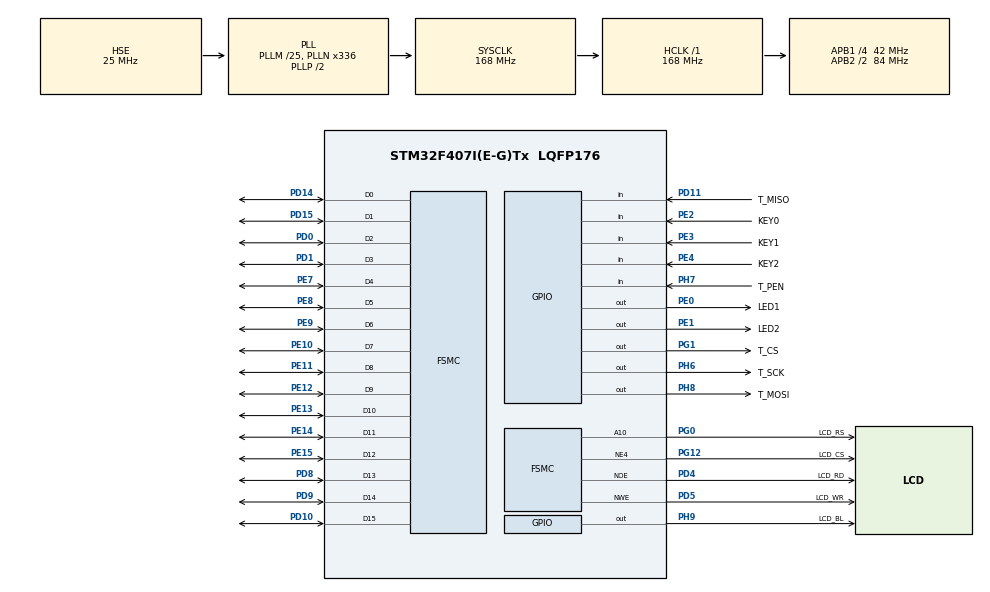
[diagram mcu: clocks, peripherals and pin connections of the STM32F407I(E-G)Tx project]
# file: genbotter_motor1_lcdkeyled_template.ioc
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FSMC.AccessMode4=FSMC_ACCESS_MODE_A
FSMC.AddressSetupTime4=2
FSMC.BusTurnAroundDuration4=0
FSMC.DataSetupTime4=5
FSMC.ExtendedAccessMode4=FSMC_ACCESS_MODE_A
FSMC.ExtendedAddressSetupTime4=0
FSMC.ExtendedBusTurnAroundDuration4=0
FSMC.ExtendedDataSetupTime4=255
FSMC.ExtendedMode4=FSMC_EXTENDED_MODE_ENABLE
FSMC.MemoryType4=FSMC_MEMORY_TYPE_SRAM
FSMC.NSBank4=FSMC_NORSRAM_BANK4
FSMC.WriteOperation4=FSMC_WRITE_OPERATION_ENABLE
Mcu.Family=STM32F4
Mcu.Name=STM32F407I(E-G)Tx
Mcu.Package=LQFP176
NVIC.PriorityGroup=NVIC_PRIORITYGROUP_4
PA13.Mode=Serial_Wire
PA13.Signal=SYS_JTMS-SWDIO
PA14.Mode=Serial_Wire
PA14.Signal=SYS_JTCK-SWCLK
PC14-OSC32_IN.Mode=LSE-External-Oscillator
PC14-OSC32_IN.Signal=RCC_OSC32_IN
PC15-OSC32_OUT.Mode=LSE-External-Oscillator
PC15-OSC32_OUT.Signal=RCC_OSC32_OUT
PD0.GPIO_PuPd=GPIO_PULLUP
PD0.Signal=FSMC_D2_DA2
PD1.GPIO_PuPd=GPIO_PULLUP
PD1.Signal=FSMC_D3_DA3
PD10.GPIO_PuPd=GPIO_PULLUP
PD10.Signal=FSMC_D15_DA15
PD11.GPIO_Label=T_MISO
PD11.Signal=GPIO_Input
PD14.GPIO_PuPd=GPIO_PULLUP
PD14.Signal=FSMC_D0_DA0
PD15.GPIO_PuPd=GPIO_PULLUP
PD15.Signal=FSMC_D1_DA1
PD4.GPIO_Label=LCD_RD
PD4.GPIO_PuPd=GPIO_PULLUP
PD4.Signal=FSMC_NOE
PD5.GPIO_Label=LCD_WR
PD5.GPIO_PuPd=GPIO_PULLUP
PD5.Signal=FSMC_NWE
PD8.GPIO_PuPd=GPIO_PULLUP
PD8.Signal=FSMC_D13_DA13
PD9.GPIO_PuPd=GPIO_PULLUP
PD9.Signal=FSMC_D14_DA14
PE0.GPIO_Label=LED1
PE0.PinState=GPIO_PIN_SET
PE0.Signal=GPIO_Output
PE1.GPIO_Label=LED2
PE1.PinState=GPIO_PIN_SET
PE1.Signal=GPIO_Output
PE10.GPIO_PuPd=GPIO_PULLUP
PE10.Signal=FSMC_D7_DA7
PE11.GPIO_PuPd=GPIO_PULLUP
PE11.Signal=FSMC_D8_DA8
PE12.GPIO_PuPd=GPIO_PULLUP
PE12.Signal=FSMC_D9_DA9
PE13.GPIO_PuPd=GPIO_PULLUP
PE13.Signal=FSMC_D10_DA10
PE14.GPIO_PuPd=GPIO_PULLUP
PE14.Signal=FSMC_D11_DA11
PE15.GPIO_PuPd=GPIO_PULLUP
PE15.Signal=FSMC_D12_DA12
PE2.GPIO_Label=KEY0
PE2.GPIO_PuPd=GPIO_PULLUP
PE2.Signal=GPIO_Input
PE3.GPIO_Label=KEY1
PE3.GPIO_PuPd=GPIO_PULLUP
PE3.Signal=GPIO_Input
PE4.GPIO_Label=KEY2
PE4.GPIO_PuPd=GPIO_PULLUP
PE4.Signal=GPIO_Input
PE7.GPIO_PuPd=GPIO_PULLUP
PE7.Signal=FSMC_D4_DA4
PE8.GPIO_PuPd=GPIO_PULLUP
PE8.Signal=FSMC_D5_DA5
PE9.GPIO_PuPd=GPIO_PULLUP
PE9.Signal=FSMC_D6_DA6
PG0.GPIO_Label=LCD_RS
PG0.GPIO_PuPd=GPIO_PULLUP
PG0.Signal=FSMC_A10
PG1.GPIO_Label=T_CS
PG1.Signal=GPIO_Output
PG12.GPIO_Label=LCD_CS
PG12.GPIO_PuPd=GPIO_PULLUP
PG12.Mode=NorPsramChipSelect4_4
PG12.Signal=FSMC_NE4
PH0-OSC_IN.Mode=HSE-External-Oscillator
PH0-OSC_IN.Signal=RCC_OSC_IN
PH1-OSC_OUT.Mode=HSE-External-Oscillator
PH1-OSC_OUT.Signal=RCC_OSC_OUT
PH6.GPIO_Label=T_SCK
PH6.Signal=GPIO_Output
PH7.GPIO_Label=T_PEN
PH7.Signal=GPIO_Input
PH8.GPIO_Label=T_MOSI
PH8.Signal=GPIO_Output
PH9.GPIO_Label=LCD_BL
PH9.Signal=GPIO_Output
ProjectManager.HeapSize=0x200
ProjectManager.StackSize=0x400
ProjectManager.TargetToolchain=MDK-ARM V5.27
RCC.48MHZClocksFreq_Value=84000000
RCC.AHBFreq_Value=168000000
RCC.APB1CLKDivider=RCC_HCLK_DIV4
RCC.APB1Freq_Value=42000000
RCC.APB1TimFreq_Value=84000000
RCC.APB2CLKDivider=RCC_HCLK_DIV2
RCC.APB2Freq_Value=84000000
RCC.APB2TimFreq_Value=168000000
RCC.CortexFreq_Value=168000000
RCC.FLatency=FLASH_LATENCY_5
RCC.HCLKFreq_Value=168000000
RCC.HSE_VALUE=25000000
RCC.HSI_VALUE=16000000
RCC.PLLM=25
RCC.PLLN=336
RCC.PLLSourceVirtual=RCC_PLLSOURCE_HSE
RCC.SYSCLKFreq_VALUE=168000000
RCC.SYSCLKSource=RCC_SYSCLKSOURCE_PLLCLK
RCC.VCOOutputFreq_Value=336000000
SH.FSMC_A10.0=FSMC_A10,A10_4
SH.FSMC_D0_DA0.0=FSMC_D0,16b-d4
SH.FSMC_D10_DA10.0=FSMC_D10,16b-d4
SH.FSMC_D11_DA11.0=FSMC_D11,16b-d4
SH.FSMC_D12_DA12.0=FSMC_D12,16b-d4
SH.FSMC_D13_DA13.0=FSMC_D13,16b-d4
SH.FSMC_D14_DA14.0=FSMC_D14,16b-d4
SH.FSMC_D15_DA15.0=FSMC_D15,16b-d4
SH.FSMC_D1_DA1.0=FSMC_D1,16b-d4
SH.FSMC_D2_DA2.0=FSMC_D2,16b-d4
SH.FSMC_D3_DA3.0=FSMC_D3,16b-d4
SH.FSMC_D4_DA4.0=FSMC_D4,16b-d4
SH.FSMC_D5_DA5.0=FSMC_D5,16b-d4
SH.FSMC_D6_DA6.0=FSMC_D6,16b-d4
SH.FSMC_D7_DA7.0=FSMC_D7,16b-d4
SH.FSMC_D8_DA8.0=FSMC_D8,16b-d4
SH.FSMC_D9_DA9.0=FSMC_D9,16b-d4
SH.FSMC_NOE.0=FSMC_NOE,Lcd4
SH.FSMC_NWE.0=FSMC_NWE,Lcd4
board=custom

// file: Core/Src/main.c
/* USER CODE BEGIN Header */
/**
 ******************************************************************************
 * @file           : main.c
 * @brief          : Main program body
 ******************************************************************************
 * @attention
 *
 * Copyright (c) 2025 STMicroelectronics.
 * All rights reserved.
 *
 * This software is licensed under terms that can be found in the LICENSE file
 * in the root directory of this software component.
 * If no LICENSE file comes with this software, it is provided AS-IS.
 *
 ******************************************************************************
 */
/* USER CODE END Header */
#include "main.h"
#include "gpio.h"
#include "fsmc.h"

/* USER CODE BEGIN Includes */
#include "lcd.h"
#include "key_led.h"
/* USER CODE END Includes */

void SystemClock_Config(void);

int main(void)
{

  /* MCU Configuration--------------------------------------------------------*/

  /* Reset of all peripherals, Initializes the Flash interface and the Systick. */
  HAL_Init();

  /* Configure the system clock */
  SystemClock_Config();

  /* Initialize all configured peripherals */
  MX_GPIO_Init();
  MX_FSMC_Init();
  /* USER CODE BEGIN 2 */
  DWT_Init(); // 初始化DWT

  Key_Init();
  Led_Init();
  lcd_init();

  lcd_show_string(10, 50, 300, 32, 32, "GenBotter-Motor-1", RED);
  lcd_show_string(10, 85, 450, 24, 24, "Chap06_LCD_KEY_LED_TempPro", BLUE);
  /* USER CODE END 2 */

  /* Infinite loop */
  /* USER CODE BEGIN WHILE */
  KeyPressedID key_id = KEY_None;
  while (1)
  {
      key_id = Key_Scan();
      if(key_id == KEY0_Pressed){
          lcd_show_string(10, 115, 200, 24, 24, "key 0 pressed.", BLUE);
          Led_Toggle(LED1);
      }
      else if(key_id == KEY1_Pressed){
          lcd_show_string(10, 115, 200, 24, 24, "key 1 pressed.", BLUE);
          Led_Toggle(LED2);
      }
      else if(key_id == KEY2_Pressed){
          lcd_show_string(10, 115, 200, 24, 24, "key 2 pressed.", BLUE);
          Led_Toggle(LED1);
          Led_Toggle(LED2);
      }
    /* USER CODE END WHILE */

  }
}

void SystemClock_Config(void)
{
  RCC_OscInitTypeDef RCC_OscInitStruct = {0};
  RCC_ClkInitTypeDef RCC_ClkInitStruct = {0};

  /** Configure the main internal regulator output voltage
  */
  __HAL_RCC_PWR_CLK_ENABLE();
  __HAL_PWR_VOLTAGESCALING_CONFIG(PWR_REGULATOR_VOLTAGE_SCALE1);

  /** Initializes the RCC Oscillators according to the specified parameters
  * in the RCC_OscInitTypeDef structure.
  */
  RCC_OscInitStruct.OscillatorType = RCC_OSCILLATORTYPE_HSE;
  RCC_OscInitStruct.HSEState = RCC_HSE_ON;
  RCC_OscInitStruct.PLL.PLLState = RCC_PLL_ON;
  RCC_OscInitStruct.PLL.PLLSource = RCC_PLLSOURCE_HSE;
  RCC_OscInitStruct.PLL.PLLM = 25;
  RCC_OscInitStruct.PLL.PLLN = 336;
  RCC_OscInitStruct.PLL.PLLP = RCC_PLLP_DIV2;
  RCC_OscInitStruct.PLL.PLLQ = 4;
  if (HAL_RCC_OscConfig(&RCC_OscInitStruct) != HAL_OK)
  {
    Error_Handler();
  }

  /** Initializes the CPU, AHB and APB buses clocks
  */
  RCC_ClkInitStruct.ClockType = RCC_CLOCKTYPE_HCLK|RCC_CLOCKTYPE_SYSCLK
                              |RCC_CLOCKTYPE_PCLK1|RCC_CLOCKTYPE_PCLK2;
  RCC_ClkInitStruct.SYSCLKSource = RCC_SYSCLKSOURCE_PLLCLK;
  RCC_ClkInitStruct.AHBCLKDivider = RCC_SYSCLK_DIV1;
  RCC_ClkInitStruct.APB1CLKDivider = RCC_HCLK_DIV4;
  RCC_ClkInitStruct.APB2CLKDivider = RCC_HCLK_DIV2;

  if (HAL_RCC_ClockConfig(&RCC_ClkInitStruct, FLASH_LATENCY_5) != HAL_OK)
  {
    Error_Handler();
  }
}

void Error_Handler(void)
{
  __disable_irq();
  while (1)
  {
  }
}
